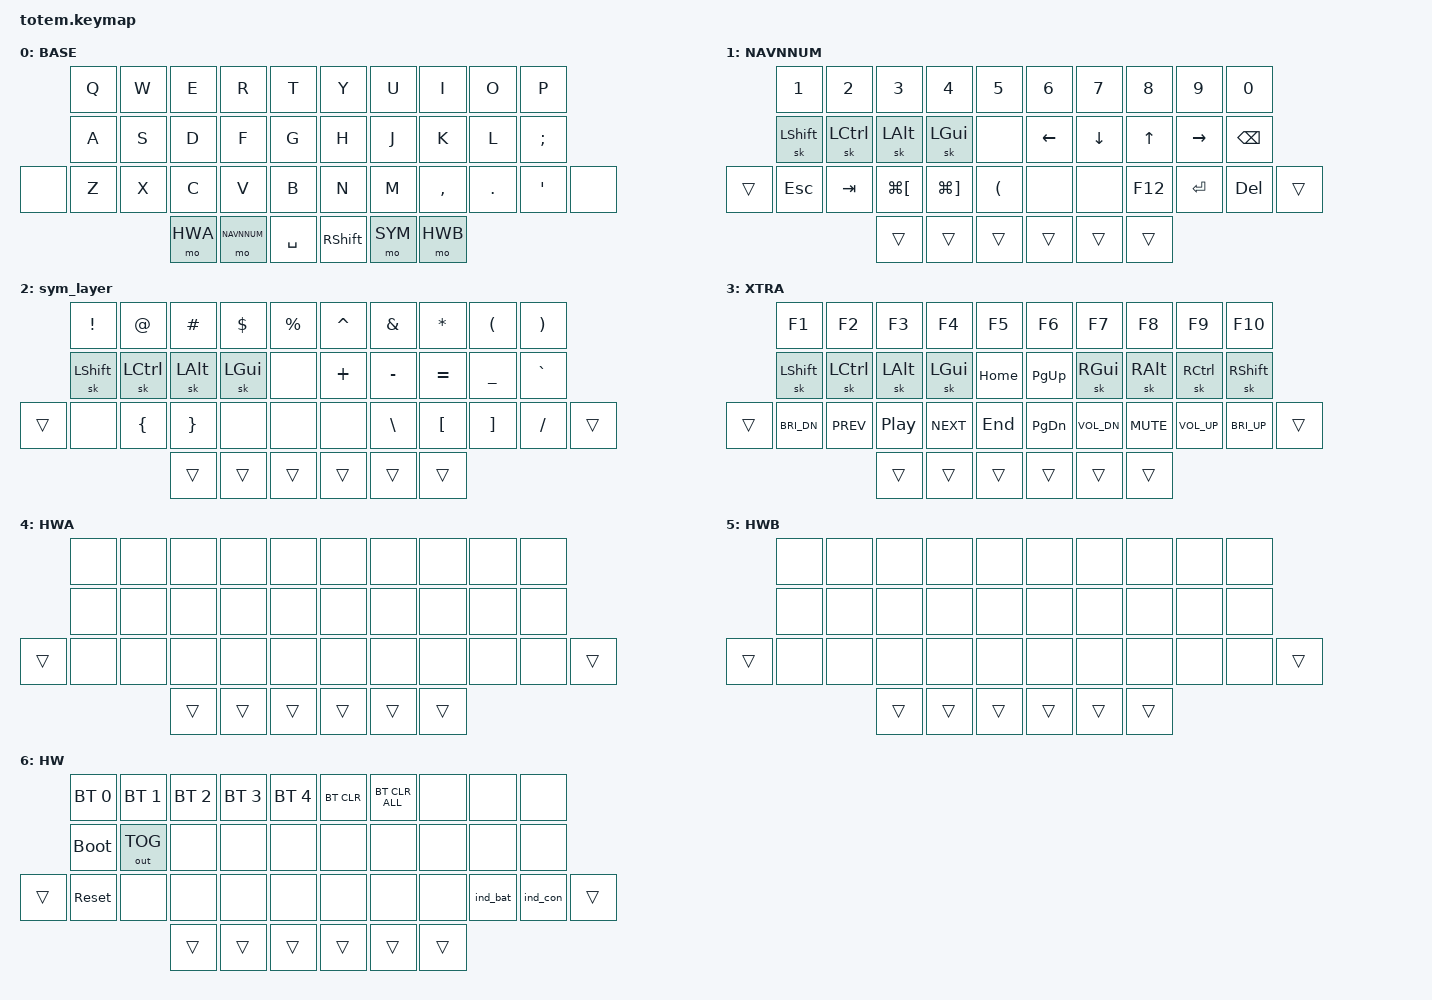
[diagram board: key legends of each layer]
#include <behaviors.dtsi>
#include <dt-bindings/zmk/keys.h>
#include <dt-bindings/zmk/bt.h>
#include <dt-bindings/zmk/outputs.h>
#include <behaviors/rgbled_widget.dtsi>
#include "zmk-helpers/helper.h"
#include "zmk-helpers/key-labels/totem.h"

#define BASE    0
#define NAVNNUM 1
#define SYM     2
#define XTRA    3
#define HWA     4
#define HWB     5
#define HW      6

#define BACK LG(LBKT)
#define FWD LG(RBKT)

&sk {
    release-after-ms = <1000>;
    quick-release;
};

/ {
    conditional_layers {
        compatible = "zmk,conditional-layers";
        tri_layer {
            if-layers = <NAVNNUM SYM>;
            then-layer = <XTRA>;
        };
        hidden_hw_layer {
            if-layers = <HWA HWB>;
            then-layer = <HW>;
        };
    };

    keymap {
        compatible = "zmk,keymap";
        base_layer {
            label = "BASE";
            bindings = <
                            &kp Q           &kp W           &kp E           &kp R           &kp T           &kp Y       &kp U           &kp I       &kp O       &kp P
                            &kp A           &kp S           &kp D           &kp F           &kp G           &kp H       &kp J           &kp K       &kp L       &kp SEMI
                &none       &kp Z           &kp X           &kp C           &kp V           &kp B           &kp N       &kp M           &kp COMMA   &kp DOT     &kp SQT             &none
                                                            &mo HWA         &mo NAVNNUM     &kp SPACE       &kp RSHFT   &mo SYM         &mo HWB
            >;
        };

        nav_n_num_layer {
            label = "NAVNNUM";
            bindings = <
                            &kp N1          &kp N2          &kp N3          &kp N4          &kp N5          &kp N6      &kp N7          &kp N8      &kp N9      &kp N0
                            &sk LSHFT       &sk LCTRL       &sk LALT        &sk LGUI        &none           &kp LEFT    &kp DOWN        &kp UP      &kp RIGHT   &kp BSPC
                &trans      &kp ESC         &kp TAB         &kp BACK        &kp FWD         &kp LPAR        &none       &none           &kp F12     &kp RET     &kp DEL             &trans
                                                            &trans          &trans          &trans          &trans      &trans          &trans
            >;
        };

        sym_layer {
            bindings = <
                            &kp EXCL        &kp AT          &kp HASH        &kp DLLR        &kp PRCNT       &kp CARET   &kp AMPS        &kp ASTRK   &kp LPAR    &kp RPAR
                            &sk LSHFT       &sk LCTRL       &sk LALT        &sk LGUI        &none           &kp PLUS    &kp MINUS       &kp EQUAL   &kp UNDER   &kp GRAVE
                &trans      &none           &kp LBRC        &kp RBRC        &none           &none           &none       &kp BSLH        &kp LBKT    &kp RBKT    &kp FSLH            &trans
                                                            &trans          &trans          &trans          &trans      &trans          &trans
            >;
        };

        xtra_layer {
            label = "XTRA";
            bindings = <
                            &kp F1          &kp F2          &kp F3          &kp F4          &kp F5          &kp F6      &kp F7          &kp F8      &kp F9          &kp F10
                            &sk LSHFT       &sk LCTRL       &sk LALT        &sk LGUI        &kp HOME        &kp PG_UP   &sk RGUI        &sk RALT    &sk RCTRL       &sk RSHFT
                &trans      &kp C_BRI_DN    &kp C_PREV      &kp C_PP        &kp C_NEXT      &kp END         &kp PG_DN   &kp C_VOL_DN    &kp C_MUTE  &kp C_VOL_UP    &kp C_BRI_UP    &trans
                                                            &trans          &trans          &trans          &trans      &trans          &trans
            >;
        };

        hw_step_a_layer {
            label = "HWA";
            bindings = <
                            &none           &none           &none           &none           &none           &none       &none           &none       &none           &none
                            &none           &none           &none           &none           &none           &none       &none           &none       &none           &none
                &trans      &none           &none           &none           &none           &none           &none       &none           &none       &none           &none           &trans
                                                            &trans          &trans          &trans          &trans      &trans          &trans
            >;
        };

        hw_step_b_layer {
            label = "HWB";
            bindings = <
                            &none           &none           &none           &none           &none           &none       &none           &none       &none           &none
                            &none           &none           &none           &none           &none           &none       &none           &none       &none           &none
                &trans      &none           &none           &none           &none           &none           &none       &none           &none       &none           &none           &trans
                                                            &trans          &trans          &trans          &trans      &trans          &trans
            >;
        };

        hw_layer {
            label = "HW";
            bindings = <
                            &bt BT_SEL 0    &bt BT_SEL 1    &bt BT_SEL 2    &bt BT_SEL 3    &bt BT_SEL 4    &bt BT_CLR  &bt BT_CLR_ALL  &none       &none           &none
                            &bootloader     &out OUT_TOG    &none           &none           &none           &none       &none           &none       &none           &none
                &trans      &sys_reset      &none           &none           &none           &none           &none       &none           &none       &ind_bat        &ind_con           &trans
                                                            &trans          &trans          &trans          &trans      &trans          &trans
            >;
        };
    };
};
